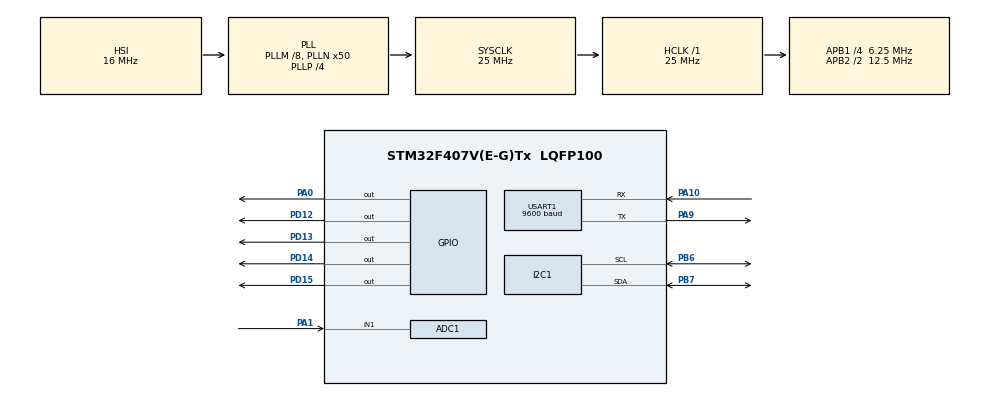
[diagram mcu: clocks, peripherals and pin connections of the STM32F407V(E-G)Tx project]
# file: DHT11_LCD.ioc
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ADC1.Channel-0\#ChannelRegularConversion=ADC_CHANNEL_1
ADC1.NbrOfConversionFlag=1
ADC1.Rank-0\#ChannelRegularConversion=1
ADC1.SamplingTime-0\#ChannelRegularConversion=ADC_SAMPLETIME_3CYCLES
ADC1.master=1
Mcu.Family=STM32F4
Mcu.Name=STM32F407V(E-G)Tx
Mcu.Package=LQFP100
NVIC.I2C1_ER_IRQn=true\:0\:0\:false\:false\:true\:true\:true\:true
NVIC.I2C1_EV_IRQn=true\:0\:0\:false\:false\:true\:true\:true\:true
NVIC.PriorityGroup=NVIC_PRIORITYGROUP_0
PA0-WKUP.Signal=GPIO_Output
PA1.Signal=ADCx_IN1
PA10.Mode=Asynchronous
PA10.Signal=USART1_RX
PA9.Mode=Asynchronous
PA9.Signal=USART1_TX
PB6.Mode=I2C
PB6.Signal=I2C1_SCL
PB7.Mode=I2C
PB7.Signal=I2C1_SDA
PD12.Signal=GPIO_Output
PD13.Signal=GPIO_Output
PD14.Signal=GPIO_Output
PD15.Signal=GPIO_Output
ProjectManager.HeapSize=0x200
ProjectManager.StackSize=0x400
ProjectManager.TargetToolchain=STM32CubeIDE
RCC.48MHZClocksFreq_Value=14285714.285714285
RCC.AHBFreq_Value=25000000
RCC.APB1CLKDivider=RCC_HCLK_DIV4
RCC.APB1Freq_Value=6250000
RCC.APB1TimFreq_Value=12500000
RCC.APB2CLKDivider=RCC_HCLK_DIV2
RCC.APB2Freq_Value=12500000
RCC.APB2TimFreq_Value=25000000
RCC.CortexFreq_Value=25000000
RCC.HCLKFreq_Value=25000000
RCC.HSE_VALUE=8000000
RCC.HSI_VALUE=16000000
RCC.LSE_VALUE=32768
RCC.PLLM=8
RCC.PLLN=50
RCC.PLLP=RCC_PLLP_DIV4
RCC.PLLQ=7
RCC.SYSCLKFreq_VALUE=25000000
RCC.SYSCLKSource=RCC_SYSCLKSOURCE_PLLCLK
RCC.VCOOutputFreq_Value=100000000
SH.ADCx_IN1.0=ADC1_IN1,IN1
USART1.BaudRate=9600
USART1.VirtualMode=VM_ASYNC
board=STM32F407G-DISC1

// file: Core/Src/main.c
/* USER CODE BEGIN Header */
/**
  ******************************************************************************
  * @file           : main.c
  * @brief          : Main program body
  ******************************************************************************
  * @attention
  *
  * Copyright (c) 2026 STMicroelectronics.
  * All rights reserved.
  *
  * This software is licensed under terms that can be found in the LICENSE file
  * in the root directory of this software component.
  * If no LICENSE file comes with this software, it is provided AS-IS.
  *
  ******************************************************************************
  */
/* USER CODE END Header */
#include "mq2.h"
#include "main.h"
#include "my_lcd.h"
#include "dht11.h"
#include<stdio.h>
#include<string.h>

I2C_HandleTypeDef hi2c1;

UART_HandleTypeDef huart1;

void SystemClock_Config(void);
static void MX_GPIO_Init(void);
static void MX_ADC1_Init(void);
static void MX_I2C1_Init(void);
static void MX_USART1_UART_Init(void);

int main(void)
{

  /* USER CODE BEGIN 1 */
	uint16_t val = 0;
	uint8_t temp ;
	uint8_t hum;
  /* USER CODE END 1 */

  /* MCU Configuration--------------------------------------------------------*/

  /* Reset of all peripherals, Initializes the Flash interface and the Systick. */
  HAL_Init();

  /* Configure the system clock */
  SystemClock_Config();

  /* Initialize all configured peripherals */
  MX_GPIO_Init();
  MX_ADC1_Init();
  MX_I2C1_Init();
  MX_USART1_UART_Init();
  /* USER CODE BEGIN 2 */
  if (!lcd16x2_i2c_init(&hi2c1))
   {
       // LCD not detected
       while(1);
    }
  char str[32];
  char T[32];
  char H[32];
  /* USER CODE END 2 */

  /* Infinite loop */
  while (1)
  {

    /* USER CODE BEGIN 3 */
	  	 DHT11_Read(&temp, &hum);
	  	 lcd16x2_i2c_clear();
	  	 lcd16x2_i2c_setCursor(0,0);
	  	 sprintf(T,"Temp = %4d",temp);
	  	 lcd16x2_i2c_printf(T);
	  	 lcd16x2_i2c_setCursor(1,0);
	  	 sprintf(H,"Hum = %4d",hum);
	  	 lcd16x2_i2c_printf(H);
	  	 HAL_Delay(1000);

	  	 val = read_adc();
	  	 lcd16x2_i2c_clear();
	  	 lcd16x2_i2c_setCursor(1,0);
	  	 sprintf(str,"Smoke = %4d",val);
	  	 lcd16x2_i2c_printf(str);
	  	 HAL_Delay(1000);
	  	 HAL_GPIO_WritePin(GPIOD,GPIO_PIN_12|GPIO_PIN_13|GPIO_PIN_14|GPIO_PIN_15,GPIO_PIN_RESET);
	  	 if(val >= 200 && val <= 600)
	  	 {
	  		 HAL_GPIO_WritePin(GPIOD,GPIO_PIN_12,GPIO_PIN_SET);
	  	 }
	  	 else if(val > 600 && val <= 1500)
	  	 {
	  		 HAL_GPIO_WritePin(GPIOD,GPIO_PIN_13,GPIO_PIN_SET);
	  	 }
	  	 else if(val >1500)
	  	 {
	  		 HAL_GPIO_WritePin(GPIOD,GPIO_PIN_14,GPIO_PIN_SET);
	  	 }
	  	 else
	  		 HAL_GPIO_WritePin(GPIOD,GPIO_PIN_15,GPIO_PIN_SET);
	  	 HAL_Delay(1000);
  }
  /* USER CODE END 3 */
}

void SystemClock_Config(void)
{
  RCC_OscInitTypeDef RCC_OscInitStruct = {0};
  RCC_ClkInitTypeDef RCC_ClkInitStruct = {0};

  /** Configure the main internal regulator output voltage
  */
  __HAL_RCC_PWR_CLK_ENABLE();
  __HAL_PWR_VOLTAGESCALING_CONFIG(PWR_REGULATOR_VOLTAGE_SCALE1);

  /** Initializes the RCC Oscillators according to the specified parameters
  * in the RCC_OscInitTypeDef structure.
  */
  RCC_OscInitStruct.OscillatorType = RCC_OSCILLATORTYPE_HSI;
  RCC_OscInitStruct.HSIState = RCC_HSI_ON;
  RCC_OscInitStruct.HSICalibrationValue = RCC_HSICALIBRATION_DEFAULT;
  RCC_OscInitStruct.PLL.PLLState = RCC_PLL_ON;
  RCC_OscInitStruct.PLL.PLLSource = RCC_PLLSOURCE_HSI;
  RCC_OscInitStruct.PLL.PLLM = 8;
  RCC_OscInitStruct.PLL.PLLN = 50;
  RCC_OscInitStruct.PLL.PLLP = RCC_PLLP_DIV4;
  RCC_OscInitStruct.PLL.PLLQ = 7;
  if (HAL_RCC_OscConfig(&RCC_OscInitStruct) != HAL_OK)
  {
    Error_Handler();
  }

  /** Initializes the CPU, AHB and APB buses clocks
  */
  RCC_ClkInitStruct.ClockType = RCC_CLOCKTYPE_HCLK|RCC_CLOCKTYPE_SYSCLK
                              |RCC_CLOCKTYPE_PCLK1|RCC_CLOCKTYPE_PCLK2;
  RCC_ClkInitStruct.SYSCLKSource = RCC_SYSCLKSOURCE_PLLCLK;
  RCC_ClkInitStruct.AHBCLKDivider = RCC_SYSCLK_DIV1;
  RCC_ClkInitStruct.APB1CLKDivider = RCC_HCLK_DIV4;
  RCC_ClkInitStruct.APB2CLKDivider = RCC_HCLK_DIV2;

  if (HAL_RCC_ClockConfig(&RCC_ClkInitStruct, FLASH_LATENCY_0) != HAL_OK)
  {
    Error_Handler();
  }
}

  /** Configure the global features of the ADC (Clock, Resolution, Data Alignment and number of conversion)
  */

  /** Configure for the selected ADC regular channel its corresponding rank in the sequencer and its sample time.
  */

static void MX_I2C1_Init(void)
{

  hi2c1.Instance = I2C1;
  hi2c1.Init.ClockSpeed = 100000;
  hi2c1.Init.DutyCycle = I2C_DUTYCYCLE_2;
  hi2c1.Init.OwnAddress1 = 0;
  hi2c1.Init.AddressingMode = I2C_ADDRESSINGMODE_7BIT;
  hi2c1.Init.DualAddressMode = I2C_DUALADDRESS_DISABLE;
  hi2c1.Init.OwnAddress2 = 0;
  hi2c1.Init.GeneralCallMode = I2C_GENERALCALL_DISABLE;
  hi2c1.Init.NoStretchMode = I2C_NOSTRETCH_DISABLE;
  if (HAL_I2C_Init(&hi2c1) != HAL_OK)
  {
    Error_Handler();
  }

}

static void MX_USART1_UART_Init(void)
{

  huart1.Instance = USART1;
  huart1.Init.BaudRate = 115200;
  huart1.Init.WordLength = UART_WORDLENGTH_8B;
  huart1.Init.StopBits = UART_STOPBITS_1;
  huart1.Init.Parity = UART_PARITY_NONE;
  huart1.Init.Mode = UART_MODE_TX_RX;
  huart1.Init.HwFlowCtl = UART_HWCONTROL_NONE;
  huart1.Init.OverSampling = UART_OVERSAMPLING_16;
  if (HAL_UART_Init(&huart1) != HAL_OK)
  {
    Error_Handler();
  }

}

static void MX_GPIO_Init(void)
{
  GPIO_InitTypeDef GPIO_InitStruct = {0};

  /* GPIO Ports Clock Enable */
  __HAL_RCC_GPIOA_CLK_ENABLE();
  __HAL_RCC_GPIOD_CLK_ENABLE();
  __HAL_RCC_GPIOB_CLK_ENABLE();

  /*Configure GPIO pin Output Level */
  HAL_GPIO_WritePin(GPIOA, GPIO_PIN_0, GPIO_PIN_RESET);

  /*Configure GPIO pin Output Level */
  HAL_GPIO_WritePin(GPIOD, GPIO_PIN_12|GPIO_PIN_13|GPIO_PIN_14|GPIO_PIN_15, GPIO_PIN_RESET);

  /*Configure GPIO pin : PA0 */
  GPIO_InitStruct.Pin = GPIO_PIN_0;
  GPIO_InitStruct.Mode = GPIO_MODE_OUTPUT_PP;
  GPIO_InitStruct.Pull = GPIO_NOPULL;
  GPIO_InitStruct.Speed = GPIO_SPEED_FREQ_LOW;
  HAL_GPIO_Init(GPIOA, &GPIO_InitStruct);

  /*Configure GPIO pins : PD12 PD13 PD14 PD15 */
  GPIO_InitStruct.Pin = GPIO_PIN_12|GPIO_PIN_13|GPIO_PIN_14|GPIO_PIN_15;
  GPIO_InitStruct.Mode = GPIO_MODE_OUTPUT_PP;
  GPIO_InitStruct.Pull = GPIO_NOPULL;
  GPIO_InitStruct.Speed = GPIO_SPEED_FREQ_LOW;
  HAL_GPIO_Init(GPIOD, &GPIO_InitStruct);

}

void Error_Handler(void)
{
  __disable_irq();
  while (1)
  {
  }
}
